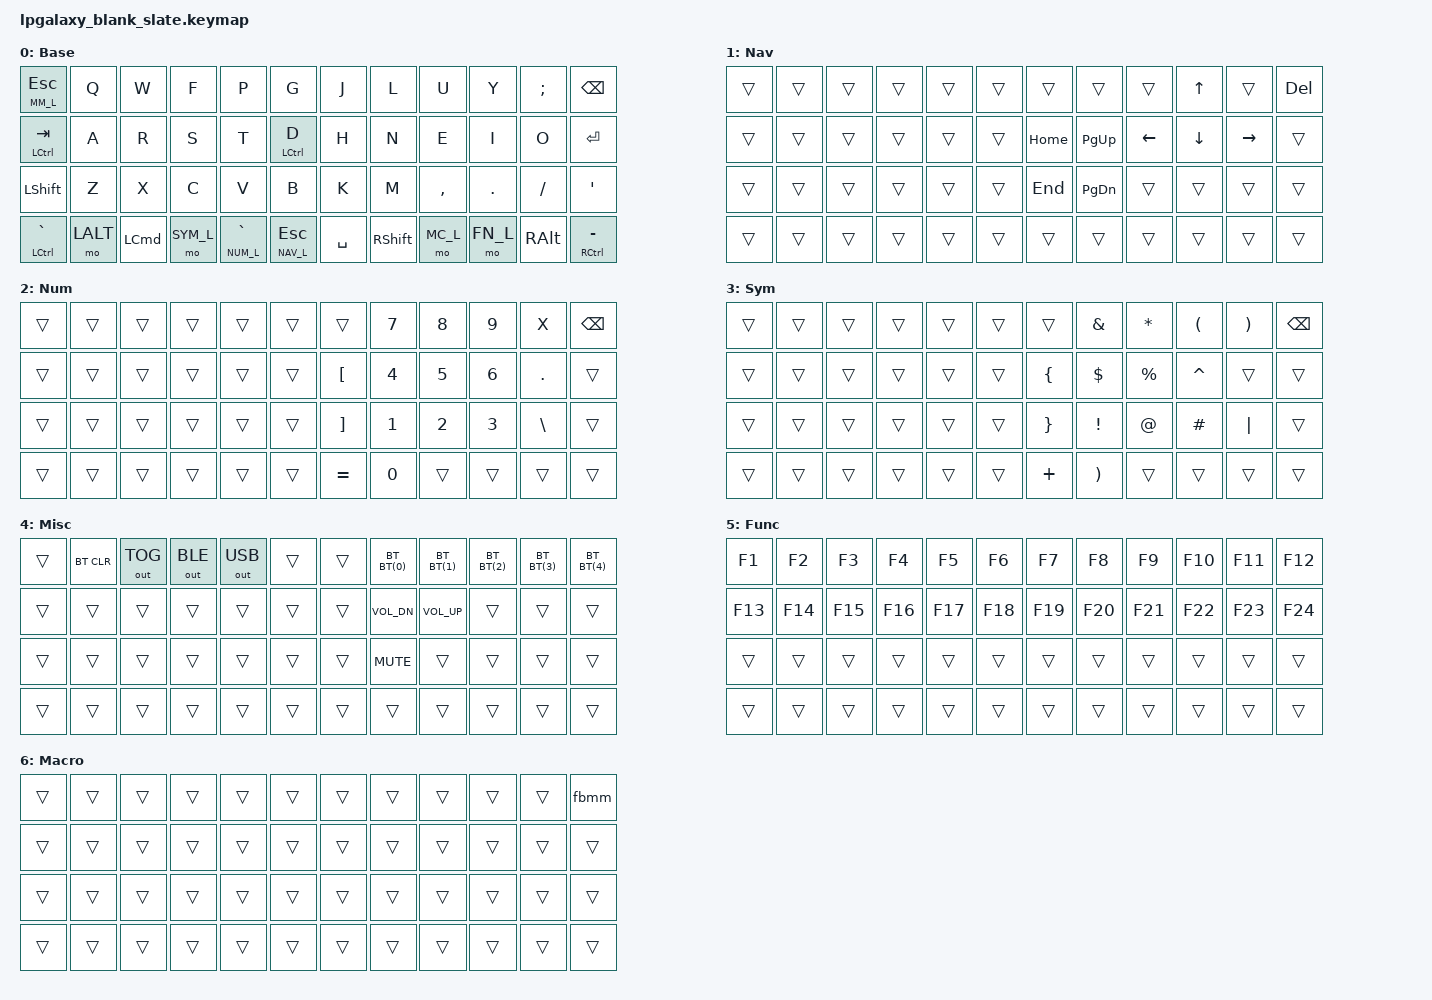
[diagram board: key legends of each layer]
/*
 * Copyright (c) 2022 Pete Johanson
 *
 * SPDX-License-Identifier: MIT
 */

#include <behaviors.dtsi>
#include <dt-bindings/zmk/keys.h>
#include <dt-bindings/zmk/bt.h>
#include <dt-bindings/zmk/outputs.h>

#define TBLE_ORTHO   1
// #define TBLE_MIT     1
// #define TBLE_DUAL_2U 1

#define NAV_L 1
#define NUM_L 2
#define SYM_L 3
#define MM_L 4 // MultiMedia and Misc
#define FN_L 5 // Function
#define MC_L 6 // Macro

// Using layer taps on thumbs, having quick tap as well helps w/ repeating space/backspace
&lt { quick_tap_ms = <200>; };

&mt {
    tapping-term-ms = <200>;
    flavor = "tap-preferred";
};

#define BT(n) BT_SEL n

/ {
    chosen {
       zmk,matrix_transform =
#ifdef TBLE_DUAL_2U
                       &dual_2u_transform;
#elif defined(TBLE_MIT)
                       &mit_transform;
#else
                       &ortho_transform;
#endif
    };

    macros {
        fbmm: fbmm {
            compatible = "zmk,behavior-macro";
            #binding-cells = <0>;
	    wait-ms = <1>;
	    tap-ms = <5>;
            bindings
                = <&macro_tap &kp M &kp I &kp A>
                , <&macro_tap &kp SPACE>
                , <&macro_tap &kp I &kp N>
                , <&macro_tap &kp SPACE>
                , <&macro_tap &kp T &kp H &kp E>
                , <&macro_tap &kp SPACE>
                , <&macro_tap &kp H &kp O &kp U &kp S &kp E>
                , <&macro_tap &kp RET>
                ;
        };
    };

    tap_dances {
    	shifty: shift_caps_word {
		compatible = "zmk,behavior-tap-dance";
		label = "TD_SHIFTY";
		#binding-cells = <0>;
		tapping-term-ms = <150>;
		bindings = <&kp LSHFT>, <&caps_word>;
	};
    };

// Conditional layer only when we have less thumb keys
#ifdef TBLE_DUAL_2U
    cond_layers {
        compatible = "zmk,conditional-layers";
	tri {
	    if-layers = <NUM_L NAV_L>;
	    then-layer = <SYM_L>;
        };
    };
#endif

    keymap {
        compatible = "zmk,keymap";

        base_layer {
            label = "Base";
            bindings = <
 &lt MM_L ESC     &kp Q      &kp W      &kp F       &kp P               &kp G             &kp J            &kp L          &kp U       &kp Y      &kp SEMI      &kp BKSP
 &mt LCTRL TAB    &kp A      &kp R      &kp S       &kp T               &mt LCTRL D       &kp H            &kp N          &kp E       &kp I      &kp O         &kp RET
 &kp LSHFT        &kp Z      &kp X      &kp C       &kp V               &kp B             &kp K            &kp M          &kp COMMA   &kp DOT    &kp FSLH      &kp SQT
 &mt LCTRL GRAVE  &mo LALT   &kp LCMD   &mo SYM_L   &lt NUM_L GRAVE     &lt NAV_L ESC     &kp SPACE        &kp RSHFT      &mo MC_L    &mo FN_L   &kp RALT      &mt RCTRL MINUS
            >;
        };

        nav_layer {
            label = "Nav";
            bindings = <
&trans     &trans     &trans     &trans      &trans          &trans       &trans     &trans         &trans      &kp UP     &trans     &kp DEL
&trans     &trans     &trans     &trans      &trans          &trans       &kp HOME   &kp PG_UP      &kp LEFT    &kp DOWN   &kp RIGHT  &trans
&trans     &trans     &trans     &trans      &trans          &trans       &kp END    &kp PG_DN      &trans      &trans     &trans     &trans
&trans     &trans     &trans     &trans      &trans          &trans       &trans     &trans         &trans      &trans     &trans     &trans
            >;
        };

        num_layer {
            label = "Num";
            bindings = <
&trans     &trans     &trans     &trans      &trans    &trans        &trans        &kp N7     &kp N8      &kp N9       &kp X      &kp BKSP
&trans     &trans     &trans     &trans      &trans    &trans        &kp LBKT      &kp N4     &kp N5      &kp N6       &kp DOT    &trans
&trans     &trans     &trans     &trans      &trans    &trans        &kp RBKT      &kp N1     &kp N2      &kp N3       &kp BSLH   &trans
&trans     &trans     &trans     &trans      &trans    &trans        &kp EQUAL     &kp N0     &trans      &trans       &trans     &trans
            >;
        };

        sym_layer {
            label = "Sym";
            bindings = <
&trans     &trans     &trans     &trans      &trans    &trans        &trans        &kp AMPS   &kp STAR    &kp LPAR     &kp RPAR   &kp BKSP
&trans     &trans     &trans     &trans      &trans    &trans        &kp LBRC      &kp DLLR   &kp PRCNT   &kp CARET    &trans     &trans
&trans     &trans     &trans     &trans      &trans    &trans        &kp RBRC      &kp EXCL   &kp AT      &kp POUND    &kp PIPE   &trans
&trans     &trans     &trans     &trans      &trans    &trans        &kp PLUS      &kp RPAR   &trans      &trans       &trans     &trans
            >;
        };

        mm_layer {
            label = "Misc";
            bindings = <
&trans     &bt BT_CLR  &out OUT_TOG   &out OUT_BLE  &out OUT_USB    &trans        &trans      &bt BT(0)      &bt BT(1)      &bt BT(2)    &bt BT(3)  &bt BT(4)
&trans     &trans      &trans         &trans        &trans          &trans        &trans      &kp K_VOL_DN   &kp K_VOL_UP   &trans       &trans     &trans
&trans     &trans      &trans         &trans        &trans          &trans        &trans      &kp K_MUTE     &trans         &trans       &trans     &trans
&trans     &trans      &trans         &trans        &trans          &trans        &trans      &trans         &trans         &trans       &trans     &trans
            >;
        };

        fn_layer {
            label = "Func";
            bindings = <
&kp F1     &kp F2      &kp F3     &kp F4      &kp F5    &kp F6        &kp F7        &kp F8         &kp F9         &kp F10      &kp F11    &kp F12
&kp F13    &kp F14     &kp F15    &kp F16     &kp F17   &kp F18       &kp F19       &kp F20        &kp F21        &kp F22      &kp F23    &kp F24
&trans     &trans      &trans     &trans      &trans    &trans        &trans        &trans         &trans         &trans       &trans     &trans
&trans     &trans      &trans     &trans      &trans    &trans        &trans        &trans         &trans         &trans       &trans     &trans
            >;
        };

        mc_layer {
            label = "Macro";
            bindings = <
&trans     &trans      &trans     &trans      &trans    &trans        &trans        &trans         &trans         &trans       &trans     &fbmm
&trans     &trans      &trans     &trans      &trans    &trans        &trans        &trans         &trans         &trans       &trans     &trans
&trans     &trans      &trans     &trans      &trans    &trans        &trans        &trans         &trans         &trans       &trans     &trans
&trans     &trans      &trans     &trans      &trans    &trans        &trans        &trans         &trans         &trans       &trans     &trans
            >;
        };
    };
};

